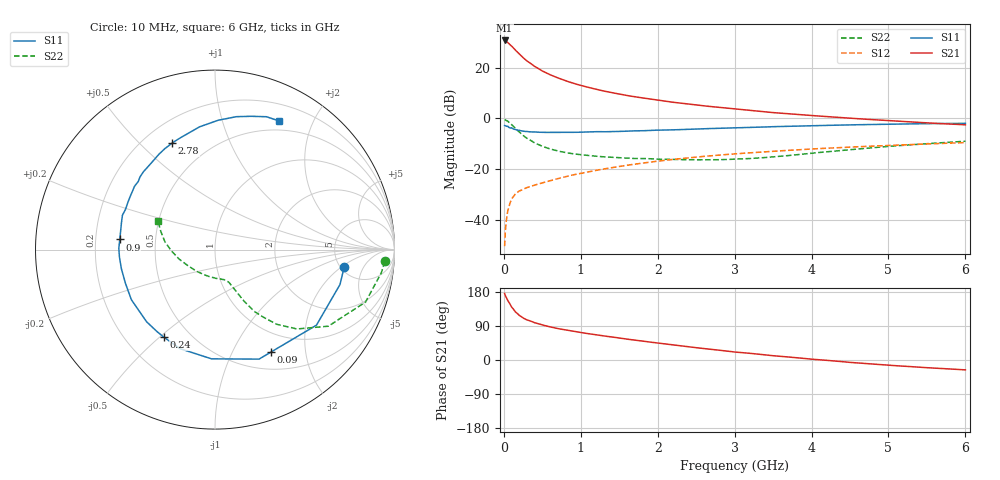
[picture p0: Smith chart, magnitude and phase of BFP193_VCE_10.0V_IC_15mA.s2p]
! Infineon Technologies  Discrete & RF Semiconductors
! BFP193
! VCE = 10.0V,  IC =  15 mA
! Common Emitter S-Parameters:  Jan 2016
# GHz  S  MA  R  50
!  f  S11  S21  S12  S22
! GHz  MAG  ANG  MAG  ANG  MAG  ANG  MAG  ANG
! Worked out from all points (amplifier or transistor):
!   210 points, 10 MHz to 6 GHz, reference 50 ohm
!   highest |S21| = 30.8 dB at 10 MHz (marker M1)
!   |S21| within 3 dB of that: start of sweep to 125.2 MHz
!   unconditionally stable (mu >= 1): 937.5 MHz to 3.91 GHz
!   at 185 MHz: K = 0.40, MSG = 27.5 dB, |S12| = -29.0 dB
!   at 1.52 GHz: K = 1.08, MAG = 12.5 dB, |S12| = -18.9 dB
!   at 6 GHz: K = 0.91, MSG = 3.5 dB, |S12| = -9.5 dB
!   S11 on the Smith chart (normalised r, x): 10 MHz: 5.34, -2.23; 90 MHz: 0.72, -1.42; 240 MHz: 0.36, -0.52; 900 MHz: 0.31, +0.05; 2.78 GHz: 0.31, +0.63; 6 GHz: 0.39, +1.55
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0.01  0.726 -7.8  34.84 175.5  0.003 77.2  0.9484 -4.0
0.02  0.7231 -15.6  33.93 169.7  0.0061 81.0  0.9358 -7.9
0.05  0.7048 -36.7  31.83 157.4  0.0146 71.7  0.8883 -19.2
0.09  0.6506 -61.6  27.94 144.0  0.0233 62.7  0.7824 -30.8
0.1  0.6576 -68.1  27.25 140.1  0.0255 61.4  0.7617 -34.1
0.15  0.609 -91.8  22.44 126.9  0.0323 53.1  0.6366 -44.0
0.2  0.5853 -109.5  18.84 117.9  0.0368 49.5  0.5402 -50.4
0.24  0.5647 -120.4  16.46 112.4  0.0393 47.7  0.4769 -53.6
0.26  0.5596 -125.2  15.45 109.9  0.0405 47.2  0.4504 -55.1
0.3  0.5539 -133.5  13.74 105.8  0.0431 46.8  0.407 -57.6
0.4  0.5432 -149.1  10.71 98.4  0.0483 46.8  0.33 -60.6
0.5  0.533 -159.6  8.686 92.4  0.0535 47.9  0.2822 -62.3
0.7  0.534 -175.4  6.356 83.0  0.0646 50.4  0.228 -64.9
0.9  0.5331 173.9  4.973 75.8  0.0769 51.8  0.2005 -66.7
1.02  0.5372 167.4  4.422 71.9  0.0834 52.3  0.1913 -68.3
1.4  0.5508 152.6  3.241 60.8  0.1064 51.8  0.172 -75.5
2.02  0.5892 132.5  2.277 44.3  0.1447 47.9  0.1568 -92.1
2.78  0.6397 111.9  1.67 26.3  0.188 40.8  0.1531 -120.1
3.1  0.6578 105.1  1.492 19.4  0.2049 37.5  0.1592 -133.0
4.1  0.7256 87.0  1.117 0.7  0.2544 27.2  0.2129 -168.1
5.1  0.7738 73.6  0.889 -15.1  0.2972 16.9  0.288 169.2
6  0.8006 63.5  0.751 -26.0  0.3345 7.7  0.3558 153.4
